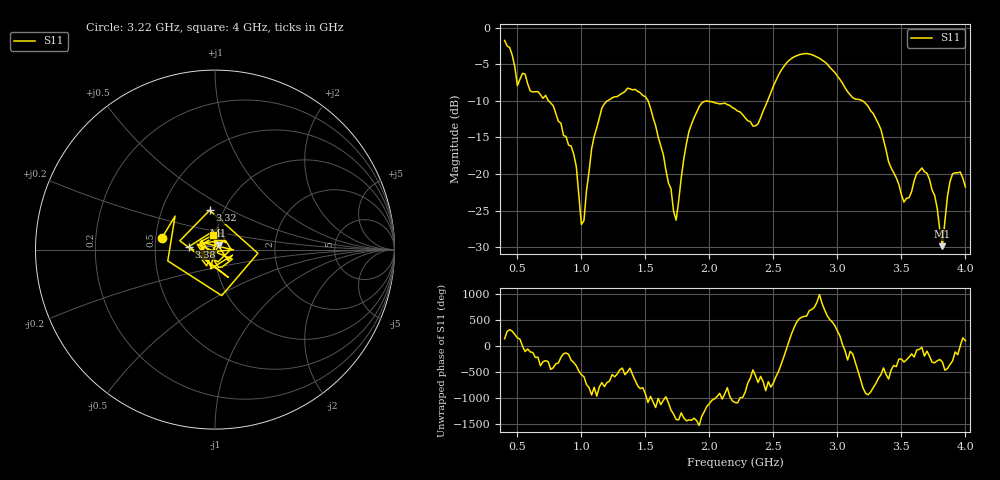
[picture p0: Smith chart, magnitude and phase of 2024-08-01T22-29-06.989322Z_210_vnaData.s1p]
!Created with skrf (http://scikit-rf.org).
# Hz S RI R 50.0
!freq ReS11 ImS11
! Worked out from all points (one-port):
!   181 points, 400 MHz to 4 GHz, reference 50 ohm
!   lowest |S11| = -29.9 dB at 3.82 GHz (marker M1), VSWR 1.07, Z = 52 + j2.61 ohm
!   |S11| at or under -10 dB: 744.7 MHz to 1.203 GHz (457.8 MHz wide, 47 % of centre); 1.521 GHz to 2.454 GHz (933 MHz wide, 46.9 % of centre); 3.197 GHz to end of sweep
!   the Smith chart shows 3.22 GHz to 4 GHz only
!   S11 on the Smith chart (normalised r, x): 3.22 GHz: 0.54, +0.07; 3.32 GHz: 0.86, +0.40; 3.38 GHz: 0.75, +0.03; 4 GHz: 0.97, +0.16
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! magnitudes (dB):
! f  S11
! 400 MHz  -1.7
! 500 MHz  -7.9
! 720 MHz  -9.2
! 860 MHz  -14.7
! 960 MHz  -19.0
! 1 GHz  -26.9
! 1.08 GHz  -16.5
! 1.16 GHz  -11.0
! 1.3 GHz  -9.2
! 1.52 GHz  -9.9
! 1.74 GHz  -26.3
! 1.76 GHz  -23.7
! 1.84 GHz  -14.2
! 1.92 GHz  -10.8
! 2.2 GHz  -11.1
! 2.38 GHz  -13.1
! 2.66 GHz  -4.0
! 2.88 GHz  -4.4
! 3.1 GHz  -9.2
! 3.22 GHz  -10.3
! 3.32 GHz  -13.1
! 3.38 GHz  -16.7
! 3.52 GHz  -23.8
! 3.56 GHz  -23.2
! 3.7 GHz  -19.9
! 3.82 GHz  -29.9
! 3.9 GHz  -20.0
! 4 GHz  -21.8
